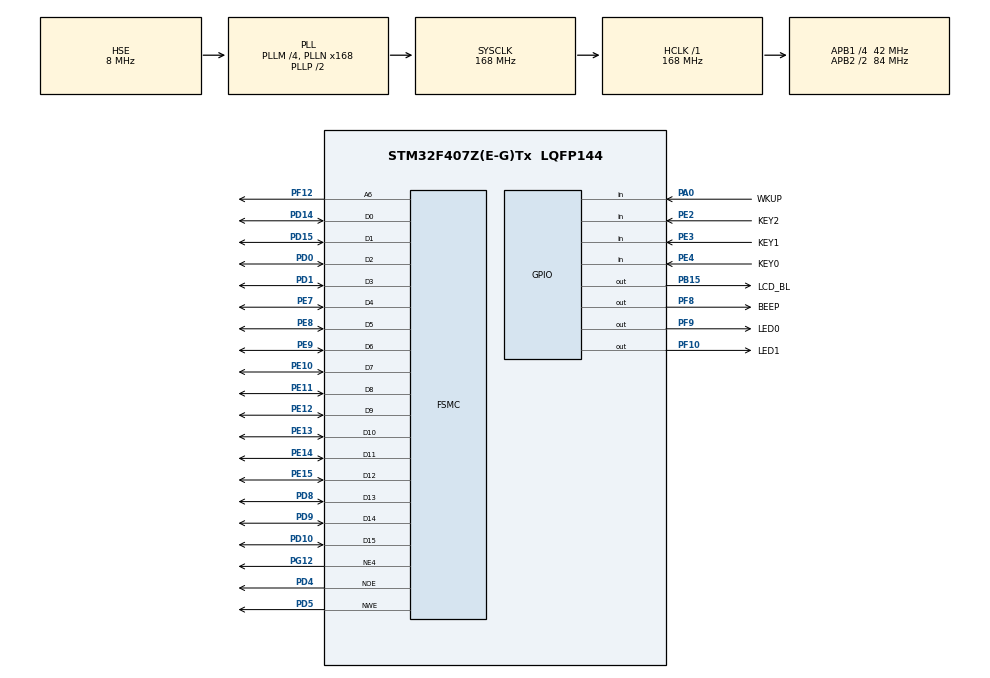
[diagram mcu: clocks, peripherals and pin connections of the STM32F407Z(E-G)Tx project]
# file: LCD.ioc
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FSMC.AddressSetupTime4=2
FSMC.BusTurnAroundDuration4=0
FSMC.DataSetupTime4=16
FSMC.ExtendedAddressSetupTime4=4
FSMC.ExtendedBusTurnAroundDuration4=0
FSMC.ExtendedDataSetupTime4=9
FSMC.ExtendedMode4=FSMC_EXTENDED_MODE_ENABLE
Mcu.Family=STM32F4
Mcu.Name=STM32F407Z(E-G)Tx
Mcu.Package=LQFP144
NVIC.PriorityGroup=NVIC_PRIORITYGROUP_4
PA0-WKUP.GPIO_Label=WKUP
PA0-WKUP.GPIO_PuPd=GPIO_PULLDOWN
PA0-WKUP.Signal=GPIO_Input
PA13.Mode=JTAG_4_pins
PA13.Signal=SYS_JTMS-SWDIO
PA14.Mode=JTAG_4_pins
PA14.Signal=SYS_JTCK-SWCLK
PA15.Mode=JTAG_4_pins
PA15.Signal=SYS_JTDI
PB15.GPIO_Label=LCD_BL
PB15.Signal=GPIO_Output
PB3.Mode=JTAG_4_pins
PB3.Signal=SYS_JTDO-SWO
PC14-OSC32_IN.Mode=LSE-External-Oscillator
PC14-OSC32_IN.Signal=RCC_OSC32_IN
PC15-OSC32_OUT.Mode=LSE-External-Oscillator
PC15-OSC32_OUT.Signal=RCC_OSC32_OUT
PD0.Signal=FSMC_D2_DA2
PD1.Signal=FSMC_D3_DA3
PD10.Signal=FSMC_D15_DA15
PD14.Signal=FSMC_D0_DA0
PD15.Signal=FSMC_D1_DA1
PD4.Signal=FSMC_NOE
PD5.Signal=FSMC_NWE
PD8.Signal=FSMC_D13_DA13
PD9.Signal=FSMC_D14_DA14
PE10.Signal=FSMC_D7_DA7
PE11.Signal=FSMC_D8_DA8
PE12.Signal=FSMC_D9_DA9
PE13.Signal=FSMC_D10_DA10
PE14.Signal=FSMC_D11_DA11
PE15.Signal=FSMC_D12_DA12
PE2.GPIO_Label=KEY2
PE2.GPIO_PuPd=GPIO_PULLUP
PE2.Signal=GPIO_Input
PE3.GPIO_Label=KEY1
PE3.GPIO_PuPd=GPIO_PULLUP
PE3.Signal=GPIO_Input
PE4.GPIO_Label=KEY0
PE4.GPIO_PuPd=GPIO_PULLUP
PE4.Signal=GPIO_Input
PE7.Signal=FSMC_D4_DA4
PE8.Signal=FSMC_D5_DA5
PE9.Signal=FSMC_D6_DA6
PF10.GPIO_Label=LED1
PF10.PinState=GPIO_PIN_SET
PF10.Signal=GPIO_Output
PF12.Signal=FSMC_A6
PF8.GPIO_Label=BEEP
PF8.Signal=GPIO_Output
PF9.GPIO_Label=LED0
PF9.PinState=GPIO_PIN_SET
PF9.Signal=GPIO_Output
PG12.Mode=NorPsramChipSelect4_4
PG12.Signal=FSMC_NE4
PH0-OSC_IN.Mode=HSE-External-Oscillator
PH0-OSC_IN.Signal=RCC_OSC_IN
PH1-OSC_OUT.Mode=HSE-External-Oscillator
PH1-OSC_OUT.Signal=RCC_OSC_OUT
ProjectManager.HeapSize=0x200
ProjectManager.StackSize=0x400
ProjectManager.TargetToolchain=MDK-ARM V5.27
RCC.48MHZClocksFreq_Value=84000000
RCC.AHBFreq_Value=168000000
RCC.APB1CLKDivider=RCC_HCLK_DIV4
RCC.APB1Freq_Value=42000000
RCC.APB1TimFreq_Value=84000000
RCC.APB2CLKDivider=RCC_HCLK_DIV2
RCC.APB2Freq_Value=84000000
RCC.APB2TimFreq_Value=168000000
RCC.CortexFreq_Value=168000000
RCC.FLatency=FLASH_LATENCY_5
RCC.HCLKFreq_Value=168000000
RCC.HSE_VALUE=8000000
RCC.HSI_VALUE=16000000
RCC.PLLM=4
RCC.PLLN=168
RCC.PLLSourceVirtual=RCC_PLLSOURCE_HSE
RCC.SYSCLKFreq_VALUE=168000000
RCC.SYSCLKSource=RCC_SYSCLKSOURCE_PLLCLK
RCC.VCOOutputFreq_Value=336000000
SH.FSMC_A6.0=FSMC_A6,A6_4
SH.FSMC_D0_DA0.0=FSMC_D0,16b-d4
SH.FSMC_D10_DA10.0=FSMC_D10,16b-d4
SH.FSMC_D11_DA11.0=FSMC_D11,16b-d4
SH.FSMC_D12_DA12.0=FSMC_D12,16b-d4
SH.FSMC_D13_DA13.0=FSMC_D13,16b-d4
SH.FSMC_D14_DA14.0=FSMC_D14,16b-d4
SH.FSMC_D15_DA15.0=FSMC_D15,16b-d4
SH.FSMC_D1_DA1.0=FSMC_D1,16b-d4
SH.FSMC_D2_DA2.0=FSMC_D2,16b-d4
SH.FSMC_D3_DA3.0=FSMC_D3,16b-d4
SH.FSMC_D4_DA4.0=FSMC_D4,16b-d4
SH.FSMC_D5_DA5.0=FSMC_D5,16b-d4
SH.FSMC_D6_DA6.0=FSMC_D6,16b-d4
SH.FSMC_D7_DA7.0=FSMC_D7,16b-d4
SH.FSMC_D8_DA8.0=FSMC_D8,16b-d4
SH.FSMC_D9_DA9.0=FSMC_D9,16b-d4
SH.FSMC_NOE.0=FSMC_NOE,Lcd4
SH.FSMC_NWE.0=FSMC_NWE,Lcd4
board=custom

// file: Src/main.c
/* USER CODE BEGIN Header */
/**
  ******************************************************************************
  * @file           : main.c
  * @brief          : Main program body
  ******************************************************************************
  * @attention
  *
  * Copyright (c) 2025 STMicroelectronics.
  * All rights reserved.
  *
  * This software is licensed under terms that can be found in the LICENSE file
  * in the root directory of this software component.
  * If no LICENSE file comes with this software, it is provided AS-IS.
  *
  ******************************************************************************
  */
/* USER CODE END Header */
#include "main.h"
#include "gpio.h"
#include "fsmc.h"

/* USER CODE BEGIN Includes */
#include "LED.h"
#include "LCD.h"

/* USER CODE END Includes */

void SystemClock_Config(void);

int main(void)
{

  /* USER CODE BEGIN 1 */
    uint8_t x = 0;
    uint8_t lcd_id[12];

  /* USER CODE END 1 */

  /* MCU Configuration--------------------------------------------------------*/

  /* Reset of all peripherals, Initializes the Flash interface and the Systick. */
  HAL_Init();

  /* Configure the system clock */
  SystemClock_Config();

  /* Initialize all configured peripherals */
  MX_GPIO_Init();
  MX_FSMC_Init();
  /* USER CODE BEGIN 2 */
  lcd_init();
  g_point_color = RED;
  sprintf((char *)lcd_id, "LCD ID:%04X", lcddev.id);  /* ��LCD ID��ӡ��lcd_id���� */

  /* USER CODE END 2 */

  /* Infinite loop */
  while (1)
  {

    /* USER CODE BEGIN 3 */
        switch (x)
        {
        case 0:
            lcd_clear(WHITE);
            break;

        case 1:
            lcd_clear(BLACK);
            break;

        case 2:
            lcd_clear(BLUE);
            break;

        case 3:
            lcd_clear(RED);
            break;

        case 4:
            lcd_clear(MAGENTA);
            break;

        case 5:
            lcd_clear(GREEN);
            break;

        case 6:
            lcd_clear(CYAN);
            break;

        case 7:
            lcd_clear(YELLOW);
            break;

        case 8:
            lcd_clear(BRRED);
            break;

        case 9:
            lcd_clear(GRAY);
            break;

        case 10:
            lcd_clear(LGRAY);
            break;

        case 11:
            lcd_clear(BROWN);
            break;
        }

        lcd_show_string(10, 40, 240, 32, 32, "STM32", RED);
        lcd_show_string(10, 80, 240, 24, 24, "TFTLCD TEST", RED);
        lcd_show_string(10, 110, 240, 16, 16, "ATOM@ALIENTEK", RED);
        lcd_show_string(10, 130, 240, 16, 16, (char *)lcd_id, RED); /* ��ʾLCD ID */
        x++;

        if (x == 12)
            x = 0;

        LED0_TOGGLE(); /*�����˸*/
        HAL_Delay(1000);
  }
  /* USER CODE END 3 */
}

void SystemClock_Config(void)
{
  RCC_OscInitTypeDef RCC_OscInitStruct = {0};
  RCC_ClkInitTypeDef RCC_ClkInitStruct = {0};

  /** Configure the main internal regulator output voltage
  */
  __HAL_RCC_PWR_CLK_ENABLE();
  __HAL_PWR_VOLTAGESCALING_CONFIG(PWR_REGULATOR_VOLTAGE_SCALE1);

  /** Initializes the RCC Oscillators according to the specified parameters
  * in the RCC_OscInitTypeDef structure.
  */
  RCC_OscInitStruct.OscillatorType = RCC_OSCILLATORTYPE_HSE;
  RCC_OscInitStruct.HSEState = RCC_HSE_ON;
  RCC_OscInitStruct.PLL.PLLState = RCC_PLL_ON;
  RCC_OscInitStruct.PLL.PLLSource = RCC_PLLSOURCE_HSE;
  RCC_OscInitStruct.PLL.PLLM = 4;
  RCC_OscInitStruct.PLL.PLLN = 168;
  RCC_OscInitStruct.PLL.PLLP = RCC_PLLP_DIV2;
  RCC_OscInitStruct.PLL.PLLQ = 4;
  if (HAL_RCC_OscConfig(&RCC_OscInitStruct) != HAL_OK)
  {
    Error_Handler();
  }

  /** Initializes the CPU, AHB and APB buses clocks
  */
  RCC_ClkInitStruct.ClockType = RCC_CLOCKTYPE_HCLK|RCC_CLOCKTYPE_SYSCLK
                              |RCC_CLOCKTYPE_PCLK1|RCC_CLOCKTYPE_PCLK2;
  RCC_ClkInitStruct.SYSCLKSource = RCC_SYSCLKSOURCE_PLLCLK;
  RCC_ClkInitStruct.AHBCLKDivider = RCC_SYSCLK_DIV1;
  RCC_ClkInitStruct.APB1CLKDivider = RCC_HCLK_DIV4;
  RCC_ClkInitStruct.APB2CLKDivider = RCC_HCLK_DIV2;

  if (HAL_RCC_ClockConfig(&RCC_ClkInitStruct, FLASH_LATENCY_5) != HAL_OK)
  {
    Error_Handler();
  }
}

void Error_Handler(void)
{
  __disable_irq();
  while (1)
  {
  }
}
